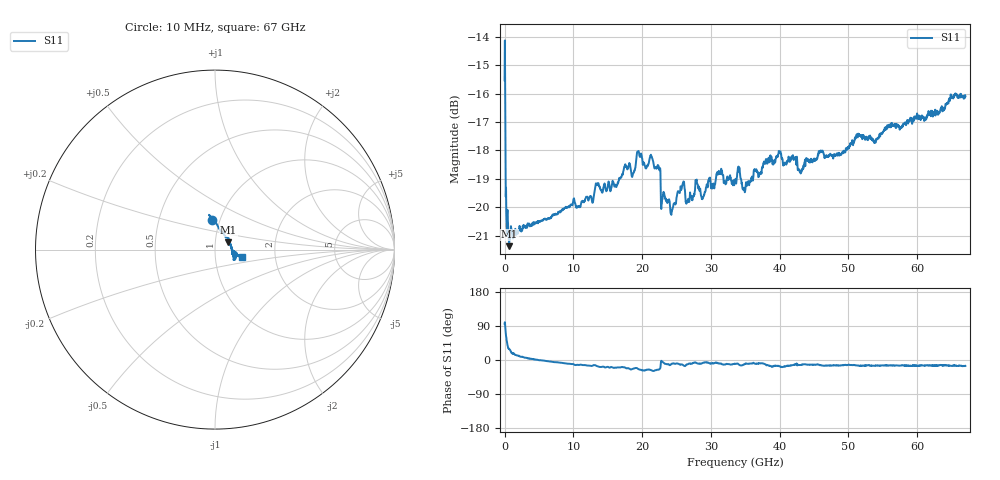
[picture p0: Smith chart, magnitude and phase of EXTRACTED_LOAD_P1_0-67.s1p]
! Generated by Phase I extraction
# Hz S RI R 50
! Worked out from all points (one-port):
!   1601 points, 10 MHz to 67 GHz, reference 50 ohm
!   lowest |S11| = -21.4 dB at 679.9 MHz (marker M1), VSWR 1.19, Z = 57.9 + j4.79 ohm
!   |S11| at or under -10 dB: start of sweep to end of sweep
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1e7  -0.0163 0.1665
4.705562e8  0.0761 0.0562
6.799e8  0.0748 0.041
2.480256e9  0.0903 0.0133
8.38375e9  0.0983 -0.013
1.67575e10  0.106 -0.0381
1.784609e10  0.1081 -0.0436
1.872533e10  0.1059 -0.0447
1.960458e10  0.1113 -0.0529
2.232604e10  0.107 -0.051
2.303781e10  0.1044 -0.0113
2.416827e10  0.0952 -0.0203
2.513125e10  0.1046 -0.0168
2.588489e10  0.1073 -0.0233
2.663852e10  0.1002 -0.0199
2.802019e10  0.1086 -0.0171
2.889944e10  0.1035 -0.0128
3.128596e10  0.1134 -0.0181
3.3505e10  0.1095 -0.0189
3.409116e10  0.1128 -0.0242
3.488667e10  0.105 -0.0211
3.852925e10  0.1155 -0.0324
4.187875e10  0.1193 -0.0288
4.300921e10  0.113 -0.0262
4.598189e10  0.1216 -0.0296
5.02525e10  0.1262 -0.0296
5.862625e10  0.137 -0.0372
6.7e10  0.151 -0.0422
